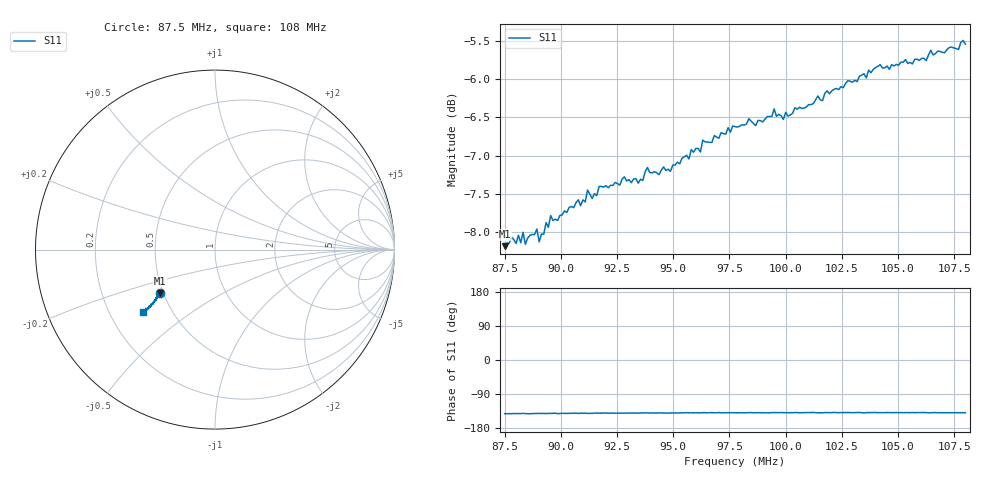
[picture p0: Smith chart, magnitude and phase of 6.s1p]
!Agilent Technologies,N5225A,MY51441201,A.09.90.19
!Agilent N5225A: A.09.90.19
!Date: Wednesday, April 25, 2018 14:37:01
!Correction: S11(Full 1 Port(1))
!S1P File: Measurement: S11:
# Hz S  dB  R 50
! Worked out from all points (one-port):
!   201 points, 87.5 MHz to 108 MHz, reference 50 ohm
!   lowest |S11| = -8.2 dB at 87.5 MHz (marker M1), VSWR 2.28, Z = 24.1 - j13.7 ohm
!   |S11| at or under -10 dB: nowhere
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8.75e7  -8.19 -141.6
8.832e7  -8.01 -140.9
8.84225e7  -8.16 -141.5
8.8935e7  -7.96 -141.2
8.90375e7  -8.13 -140.9
8.955e7  -7.78 -141.0
8.98575e7  -7.85 -141.6
9.00625e7  -7.78 -140.7
9.078e7  -7.58 -141.0
9.10875e7  -7.61 -140.1
9.119e7  -7.45 -140.9
9.1395e7  -7.56 -140.9
9.17025e7  -7.41 -140.1
9.2625e7  -7.39 -140.0
9.51875e7  -7.09 -139.9
9.58025e7  -6.92 -139.1
9.62125e7  -6.95 -139.5
9.6315e7  -6.80 -139.0
9.775e7  -6.62 -139.4
9.94925e7  -6.39 -138.8
1.003125e8  -6.45 -139.1
1.01645e8  -6.28 -139.4
1.02875e8  -6.03 -138.7
1.0349e8  -5.93 -139.7
1.035925e8  -5.98 -138.8
1.040025e8  -5.85 -138.5
1.054375e8  -5.79 -138.9
1.08e8  -5.54 -139.1
